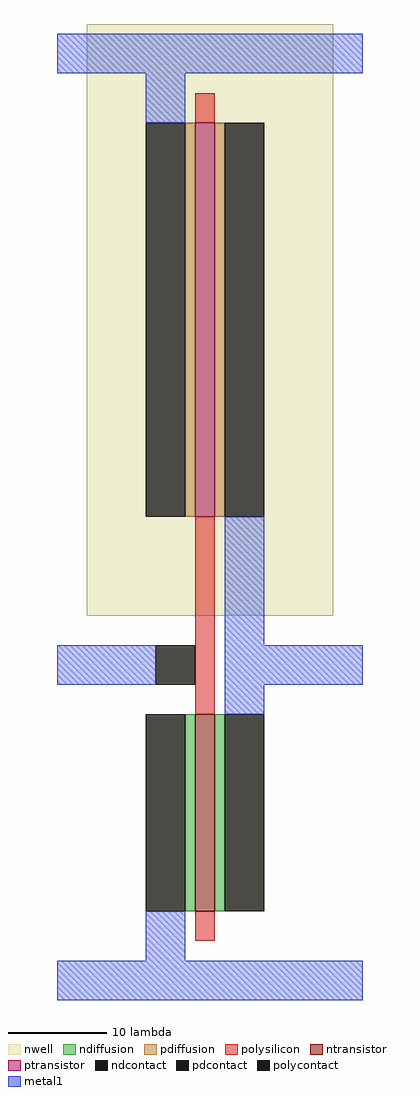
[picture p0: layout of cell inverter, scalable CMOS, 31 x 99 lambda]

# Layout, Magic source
magic
tech scmos
<< nwell >>
rect 0 -60 25 0
<< ntransistor >>
rect 11 -90 13 -70
<< ptransistor >>
rect 11 -50 13 -10
<< ndiffusion >>
rect 10 -90 11 -70
rect 13 -90 14 -70
<< pdiffusion >>
rect 10 -50 11 -10
rect 13 -50 14 -10
<< ndcontact >>
rect 6 -90 10 -70
rect 14 -90 18 -70
<< pdcontact >>
rect 6 -50 10 -10
rect 14 -50 18 -10
<< polysilicon >>
rect 11 -10 13 -7
rect 11 -70 13 -50
rect 11 -93 13 -90
<< polycontact >>
rect 7 -67 11 -63
<< metal1 >>
rect -3 -5 28 -1
rect 6 -10 10 -5
rect 14 -63 18 -50
rect -3 -67 7 -63
rect 14 -67 28 -63
rect 14 -70 18 -67
rect 6 -95 10 -90
rect -3 -99 28 -95
<< end >>
